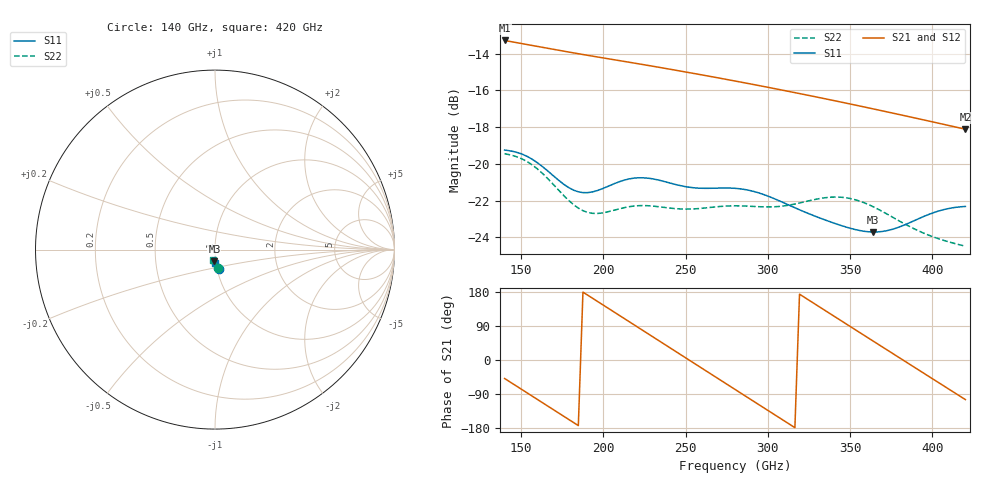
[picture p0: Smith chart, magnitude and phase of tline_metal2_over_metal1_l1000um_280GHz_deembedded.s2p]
! Created with skrf 2.0.1 (http://scikit-rf.org).
# GHz S DB R 50.0
!freq dBS11 angS11 dBS21 angS21 dBS12 angS12 dBS22 angS22
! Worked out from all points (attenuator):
!   101 points, 140 GHz to 420 GHz, reference 50 ohm
!   highest |S21| = -13.28 dB at 140 GHz (marker M1); lowest = -18.1 dB at 420 GHz (marker M2)
!   lowest |S11| = -23.7 dB at 364 GHz (marker M3), VSWR 1.14, Z = 49.2 - j6.44 ohm
!   |S11| at or under -10 dB: start of sweep to end of sweep
!   |S22| runs from -24.5 to -19.5 dB; largest |S21 - S12| = 2.3e-14
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140  -19.25 -79.6  -13.28 -48.8  -13.28 -48.8  -19.45 -80.9
151.2  -19.49 -82.2  -13.46 -79.9  -13.46 -79.9  -19.76 -83.8
162.4  -20.11 -85.0  -13.64 -111.0  -13.64 -111.0  -20.47 -87.3
176.4  -21.14 -84.7  -13.87 -149.8  -13.87 -149.8  -21.77 -88.0
187.6  -21.57 -81.2  -14.04 179.1  -14.04 179.1  -22.55 -84.4
198.8  -21.38 -78.4  -14.21 148.1  -14.21 148.1  -22.69 -80.2
212.8  -20.89 -79.4  -14.42 109.2  -14.42 109.2  -22.39 -78.6
224  -20.76 -82.6  -14.59 78.0  -14.59 78.0  -22.28 -79.8
235.2  -20.92 -85.5  -14.76 46.9  -14.76 46.9  -22.36 -81.0
254.8  -21.31 -87.8  -15.07 -7.6  -15.07 -7.6  -22.46 -81.5
268.8  -21.33 -89.2  -15.30 -46.5  -15.30 -46.5  -22.34 -82.5
280  -21.34 -91.5  -15.49 -77.6  -15.49 -77.6  -22.29 -84.1
291.2  -21.50 -94.3  -15.68 -108.7  -15.68 -108.7  -22.32 -85.6
305.2  -21.95 -97.2  -15.92 -147.5  -15.92 -147.5  -22.33 -86.7
316.4  -22.40 -98.2  -16.12 -178.5  -16.12 -178.5  -22.19 -87.7
327.6  -22.82 -98.3  -16.32 150.4  -16.32 150.4  -21.96 -89.8
347.2  -23.44 -96.7  -16.69 96.2  -16.69 96.2  -21.85 -96.6
364  -23.72 -93.0  -17.01 49.8  -17.01 49.8  -22.34 -102.5
375.2  -23.58 -90.2  -17.23 18.9  -17.23 18.9  -22.88 -104.9
386.4  -23.20 -88.5  -17.44 -12.0  -17.44 -12.0  -23.43 -105.7
400.4  -22.67 -88.8  -17.72 -50.6  -17.72 -50.6  -23.98 -105.3
420  -22.32 -91.6  -18.12 -104.5  -18.12 -104.5  -24.49 -103.5
